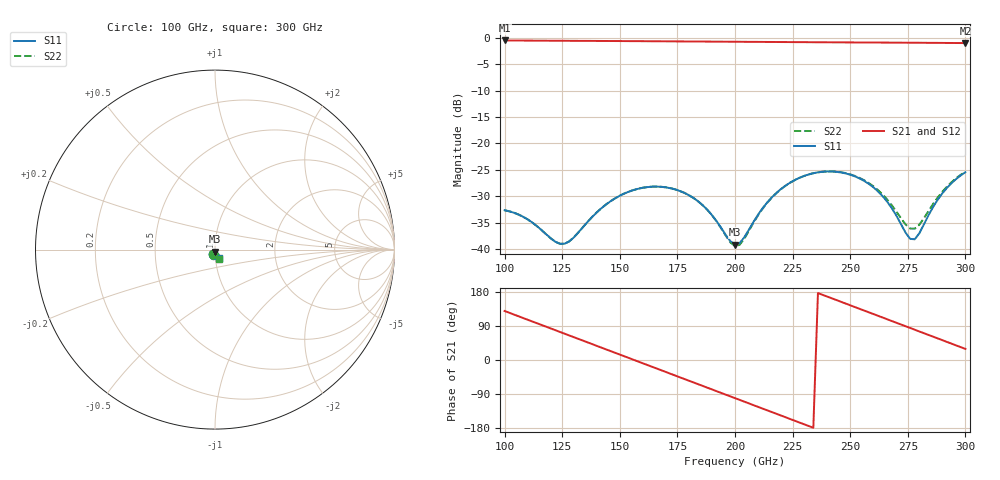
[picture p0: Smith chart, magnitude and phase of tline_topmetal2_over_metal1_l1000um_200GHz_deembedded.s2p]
! Created with skrf 2.2.0 (http://scikit-rf.org).
# GHz S DB R 50.0
! Port[1] = P1
! Port[2] = P2
!freq dBS11 angS11 dBS21 angS21 dBS12 angS12 dBS22 angS22
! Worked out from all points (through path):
!   101 points, 100 GHz to 300 GHz, reference 50 ohm
!   highest |S21| = -0.53 dB at 100 GHz (marker M1); lowest = -1.0 dB at 300 GHz (marker M2)
!   group delay of S21, straight-line fit = 6.39 ps
!   lowest |S11| = -39.1 dB at 200 GHz (marker M3), VSWR 1.02, Z = 49.8 - j1.08 ohm
!   |S11| at or under -10 dB: start of sweep to end of sweep
!   |S22| runs from -39.4 to -25.3 dB; largest |S21 - S12| = 2.1e-14
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100  -32.64 -111.2  -0.53 129.3  -0.53 129.3  -32.65 -111.2
108  -33.85 -120.4  -0.55 110.9  -0.55 110.9  -33.86 -120.3
116  -36.37 -121.9  -0.57 92.5  -0.57 92.5  -36.37 -121.7
126  -38.97 -93.1  -0.59 69.5  -0.59 69.5  -38.96 -92.9
134  -35.83 -69.8  -0.61 51.1  -0.61 51.1  -35.82 -69.6
144  -31.55 -71.3  -0.63 28.1  -0.63 28.1  -31.54 -71.0
152  -29.47 -81.5  -0.65 9.7  -0.65 9.7  -29.46 -81.2
160  -28.38 -94.2  -0.67 -8.7  -0.67 -8.7  -28.37 -93.9
168  -28.21 -107.7  -0.69 -27.1  -0.69 -27.1  -28.20 -107.5
184  -30.95 -131.5  -0.73 -63.9  -0.73 -63.9  -30.95 -131.4
192  -34.69 -133.6  -0.75 -82.3  -0.75 -82.3  -34.74 -133.9
200  -39.12 -100.9  -0.78 -100.7  -0.78 -100.7  -39.43 -100.7
208  -34.85 -60.9  -0.80 -119.1  -0.80 -119.1  -35.01 -58.9
218  -29.34 -62.8  -0.82 -142.0  -0.82 -142.0  -29.39 -60.8
234  -25.64 -88.3  -0.87 -178.8  -0.87 -178.8  -25.63 -85.9
250  -25.91 -117.1  -0.90 144.4  -0.90 144.4  -25.84 -113.8
260  -28.27 -132.5  -0.92 121.4  -0.92 121.4  -28.08 -127.9
268  -32.21 -137.3  -0.94 103.0  -0.94 103.0  -31.65 -130.8
276  -38.04 -106.4  -0.96 84.6  -0.96 84.6  -36.08 -103.2
278  -38.13 -87.9  -0.96 80.0  -0.96 80.0  -36.12 -89.4
290  -29.44 -53.8  -1.00 52.3  -1.00 52.3  -29.13 -58.2
300  -25.45 -66.2  -1.03 29.3  -1.03 29.3  -25.35 -68.6
